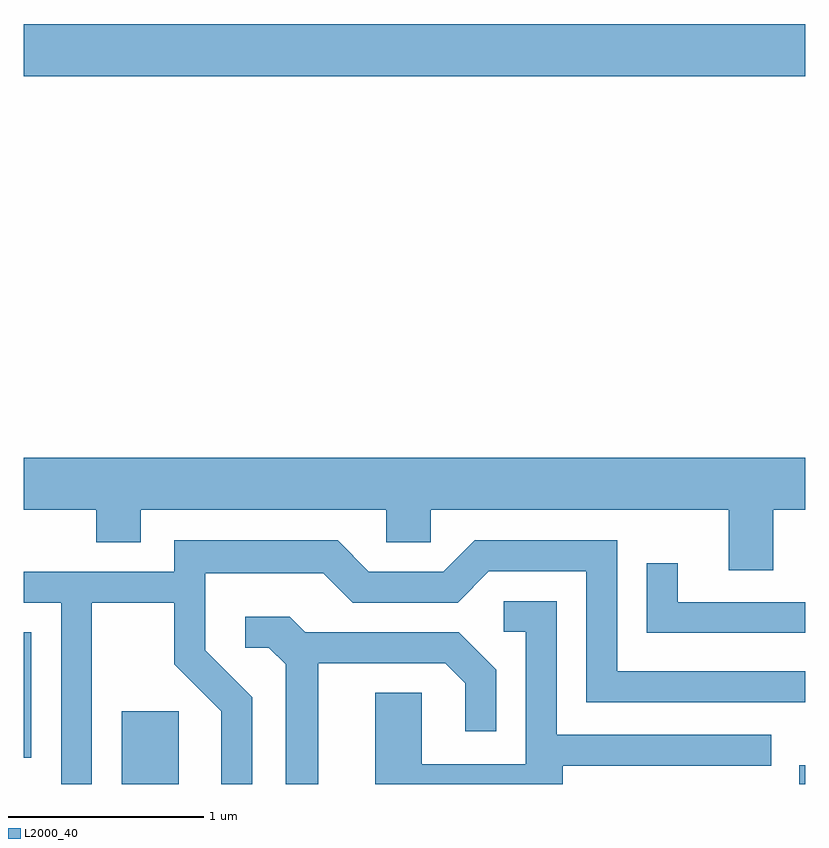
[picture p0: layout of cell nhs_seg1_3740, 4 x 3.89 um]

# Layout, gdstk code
import gdstk
lib = gdstk.Library(unit=1e-6, precision=1e-09)
def R(c, l, rs):  # rectangles x0, y0, x1, y1
    for r in rs: c.add(gdstk.rectangle(r[:2], r[2:], *l))
def P(c, l, *ps):  # polygons
    for p in ps: c.add(gdstk.Polygon(p, *l))
L2000_40 = (2000, 40)

nhs_seg1_3740 = lib.new_cell('nhs_seg1_3740')
R(nhs_seg1_3740, L2000_40, [(298.111,913.712,298.404,914.084), (301.581,913.712,301.611,913.809), (297.611,913.846,297.649,914.489), (297.611,917.336,301.611,917.604)])
P(nhs_seg1_3740, L2000_40, [(297.611,915.116),(297.981,915.116),(297.981,914.951),(298.209,914.951),(298.209,915.116),(299.466,915.116),(299.466,914.951),(299.694,914.951),(299.694,915.116),(301.221,915.116),(301.221,914.806),(301.449,914.806),(301.449,915.116),(301.611,915.116),(301.611,915.384),(297.611,915.384)],
  [(297.959,914.641),(298.381,914.641),(298.381,914.324),(298.621,914.084),(298.621,913.712),(298.779,913.712),(298.779,914.157),(298.539,914.397),(298.539,914.791),(299.144,914.791),(299.294,914.641),(299.832,914.641),(299.992,914.801),(300.491,914.801),(300.491,914.131),(301.611,914.131),(301.611,914.289),(300.649,914.289),(300.649,914.959),(299.919,914.959),(299.759,914.799),(299.377,914.799),(299.217,914.959),(298.381,914.959),(298.381,914.799),(297.611,914.799),(297.611,914.641),(297.801,914.641),(297.801,913.712),(297.959,913.712)],
  [(301.611,914.644),(300.959,914.644),(300.959,914.843),(300.801,914.843),(300.801,914.486),(301.611,914.486)],
  [(300.369,913.806),(301.438,913.806),(301.438,913.964),(300.339,913.964),(300.339,914.649),(300.068,914.649),(300.068,914.491),(300.181,914.491),(300.181,913.814),(299.649,913.814),(299.649,914.179),(299.411,914.179),(299.411,913.712),(300.369,913.712)],
  [(299.119,914.331),(299.769,914.331),(299.871,914.229),(299.871,913.983),(300.029,913.983),(300.029,914.297),(299.837,914.489),(299.052,914.489),(298.972,914.569),(298.743,914.569),(298.743,914.411),(298.864,914.411),(298.951,914.324),(298.951,913.712),(299.119,913.712)])

lib.write_gds('nhs_seg1_3740.gds')
